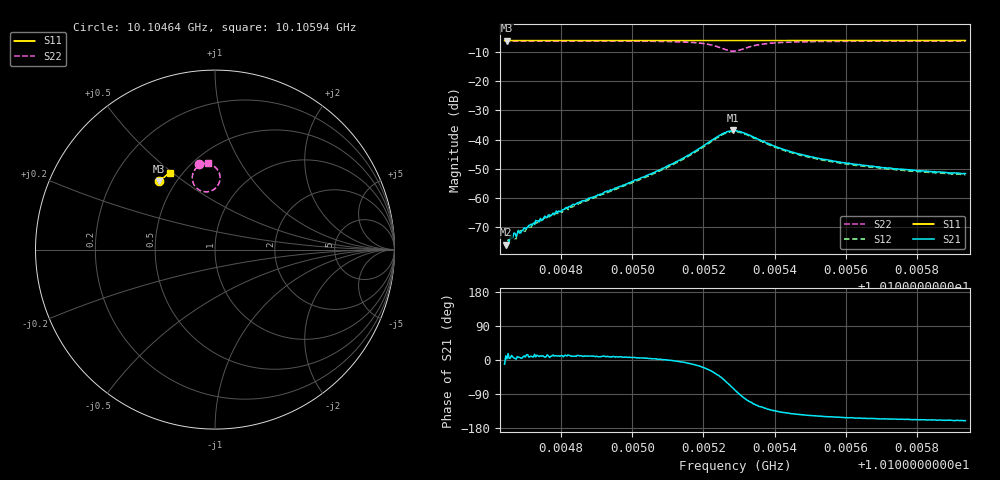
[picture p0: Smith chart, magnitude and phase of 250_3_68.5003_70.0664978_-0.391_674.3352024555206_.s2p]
#  HZ  S  RI  R  50.00
! Rohde & Schwarz Vector Network Analyzer
! Rohde-Schwarz,ZNB20-2Port,1311601062101988,3.16
! Created: UTC 3/20/2024, 5:14:56 PM
! freq[Hz]  re:S11  im:S11  re:S21  im:S21  re:S12  im:S12  re:S22  im:S22
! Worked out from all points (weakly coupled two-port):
!   401 points, 10.10464 GHz to 10.10594 GHz, reference 50 ohm
!   highest |S21| = -36.89 dB at 10.10528 GHz (marker M1); lowest = -76.0 dB at 10.10464 GHz (marker M2)
!   lowest |S11| = -6.2 dB at 10.10465 GHz (marker M3), VSWR 2.94, Z = 20.3 + j20.5 ohm
!   |S11| at or under -10 dB: nowhere
!   |S22| runs from -9.8 to -6.3 dB; largest |S21 - S12| = 0.0016
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1.0104641e10  -0.3111 0.3818  0.000159 -3.04e-05  0.00015 5.07e-05  -0.0917 0.4759
1.0104644e10  -0.3109 0.3819  0.000156 2.9e-05  0.000149 1.92e-05  -0.0916 0.4761
1.0104648e10  -0.3107 0.382  0.000167 8.74e-06  0.000149 2.11e-05  -0.0912 0.4761
1.0104657e10  -0.3103 0.3825  0.000218 1.95e-05  0.000217 2.79e-05  -0.0904 0.4763
1.0104664e10  -0.31 0.3826  0.000207 3.15e-05  0.000204 4.62e-05  -0.0898 0.4763
1.010467e10  -0.3097 0.383  0.000248 1.86e-05  0.000193 5.31e-05  -0.0892 0.4765
1.0104683e10  -0.3092 0.3834  0.00025 3.01e-05  0.000254 7.58e-05  -0.0882 0.4766
1.0104696e10  -0.3084 0.3841  0.000304 5.74e-05  0.000265 4.89e-05  -0.0869 0.4769
1.0104735e10  -0.3066 0.3858  0.000402 7.9e-05  0.00037 0.000108  -0.0834 0.4775
1.0104858e10  -0.3009 0.3906  0.000867 0.00017  0.00082 0.000206  -0.0703 0.4792
1.0105075e10  -0.2905 0.399  0.00296 0.000101  0.00285 0.000365  -0.0331 0.4767
1.0105156e10  -0.2865 0.4019  0.0053 -0.000757  0.0051 -0.00026  -0.00419 0.4634
1.010523e10  -0.2824 0.4044  0.00862 -0.00575  0.00879 -0.00461  0.0284 0.4021
1.010526e10  -0.2811 0.405  0.00776 -0.0106  0.00837 -0.00935  0.0105 0.35
1.0105282e10  -0.2801 0.4055  0.0041 -0.0137  0.00518 -0.0127  -0.0363 0.323
1.0105289e10  -0.28 0.4057  0.00255 -0.0139  0.00388 -0.0132  -0.0523 0.3219
1.0105344e10  -0.278 0.4079  -0.00481 -0.00959  -0.0039 -0.0097  -0.1255 0.3859
1.0105425e10  -0.2741 0.4112  -0.00507 -0.00451  -0.00454 -0.00478  -0.1118 0.4454
1.0105506e10  -0.27 0.4143  -0.0042 -0.00274  -0.0038 -0.00299  -0.0928 0.4641
1.01056e10  -0.2654 0.4176  -0.00352 -0.00184  -0.00319 -0.00209  -0.0771 0.4731
1.0105723e10  -0.2591 0.4218  -0.00299 -0.00136  -0.00273 -0.00152  -0.0621 0.4788
1.0105936e10  -0.2483 0.4288  -0.00247 -0.000894  -0.00224 -0.00105  -0.0417 0.4835
